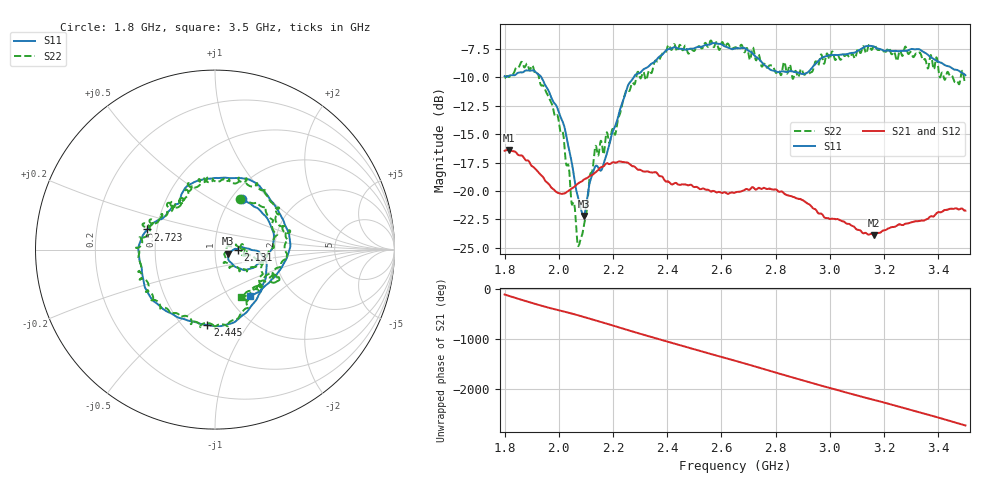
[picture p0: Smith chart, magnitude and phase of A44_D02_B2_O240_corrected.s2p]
! Created with skrf 1.9.0 (http://scikit-rf.org).
# Hz S RI R 50.0
!freq ReS11 ImS11 ReS21 ImS21 ReS12 ImS12 ReS22 ImS22
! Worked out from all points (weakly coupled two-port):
!   1601 points, 1.8 GHz to 3.5 GHz, reference 50 ohm
!   highest |S21| = -16.38 dB at 1.817 GHz (marker M1); lowest = -23.9 dB at 3.163 GHz (marker M2)
!   lowest |S11| = -22.2 dB at 2.091 GHz (marker M3), VSWR 1.17, Z = 57.9 - j2.75 ohm
!   |S11| at or under -10 dB: 1.936 GHz to 2.276 GHz (340 MHz wide, 16.1 % of centre)
!   |S22| runs from -24.9 to -6.8 dB; largest |S21 - S12| = 0.0025
!   S11 on the Smith chart (normalised r, x): 1.8 GHz: 1.12, +0.71; 2.131 GHz: 1.29, -0.01; 2.445 GHz: 0.65, -0.66; 2.723 GHz: 0.44, +0.12; 3.5 GHz: 1.26, -0.72
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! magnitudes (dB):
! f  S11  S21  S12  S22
! 1.8 GHz  -9.9  -16.5  -16.5  -10.1
! 1.817 GHz  -9.9  -16.4  -16.4  -10.0
! 1.902 GHz  -9.4  -17.8  -17.8  -8.9
! 1.967 GHz  -11.4  -19.5  -19.6  -12.0
! 2.02 GHz  -14.3  -20.2  -20.2  -15.8
! 2.07 GHz  -20.5  -19.4  -19.4  -24.8
! 2.084 GHz  -21.8  -19.2  -19.1  -24.0
! 2.091 GHz  -22.2  -19.0  -19.1  -23.2
! 2.131 GHz  -18.0  -18.4  -18.4  -16.5
! 2.162 GHz  -17.9  -17.9  -17.8  -16.5
! 2.21 GHz  -14.1  -17.5  -17.4  -14.9
! 2.259 GHz  -10.5  -17.6  -17.6  -11.2
! 2.367 GHz  -8.3  -18.6  -18.5  -8.6
! 2.445 GHz  -7.5  -19.5  -19.5  -7.2
! 2.65 GHz  -7.5  -20.2  -20.1  -7.4
! 2.723 GHz  -8.1  -19.8  -19.8  -8.1
! 2.806 GHz  -9.5  -20.0  -20.0  -9.5
! 2.934 GHz  -9.2  -21.4  -21.4  -9.5
! 3.163 GHz  -7.3  -23.9  -23.8  -7.1
! 3.217 GHz  -7.6  -23.3  -23.3  -7.4
! 3.328 GHz  -7.5  -22.7  -22.6  -7.9
! 3.5 GHz  -9.8  -21.7  -21.7  -10.4
